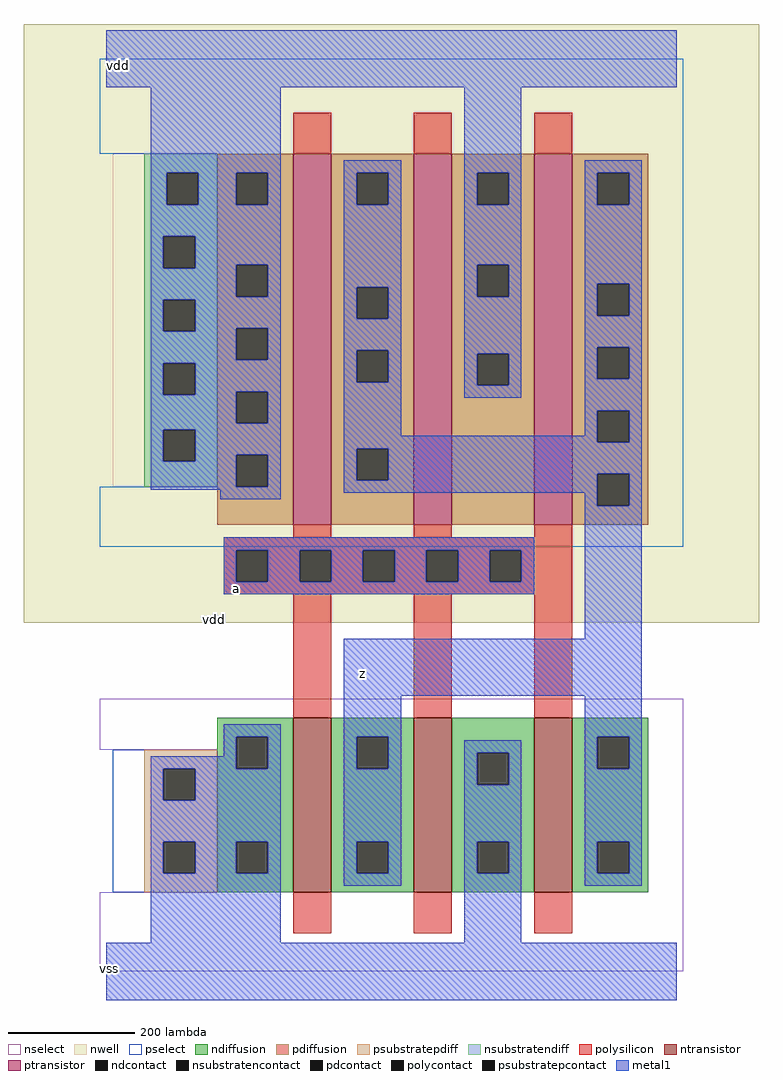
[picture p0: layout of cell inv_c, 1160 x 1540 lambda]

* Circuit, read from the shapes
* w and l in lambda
.subckt inv_c z a vdd vss
M1 z a vss vss nfet w=275 l=60 m=3
M2 z a vdd vdd pfet w=585 l=60 m=3
.ends

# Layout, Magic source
magic
tech amic5n
<< nwell >>
rect -130 550 1030 1495
<< ntransistor >>
rect 295 125 355 400
rect 485 125 545 400
rect 675 125 735 400
<< ptransistor >>
rect 295 705 355 1290
rect 485 705 545 1290
rect 675 705 735 1290
<< nselect >>
rect 10 765 175 1290
rect -10 350 910 430
rect 175 125 910 350
rect -10 0 910 125
<< pselect >>
rect -10 1290 910 1440
rect 175 765 910 1290
rect -10 670 910 765
rect 10 125 175 350
<< ndiffusion >>
rect 175 370 295 400
rect 175 320 205 370
rect 255 320 295 370
rect 175 205 295 320
rect 175 155 205 205
rect 255 155 295 205
rect 175 125 295 155
rect 355 370 485 400
rect 355 320 395 370
rect 445 320 485 370
rect 355 205 485 320
rect 355 155 395 205
rect 445 155 485 205
rect 355 125 485 155
rect 545 345 675 400
rect 545 295 585 345
rect 635 295 675 345
rect 545 205 675 295
rect 545 155 585 205
rect 635 155 675 205
rect 545 125 675 155
rect 735 370 855 400
rect 735 320 775 370
rect 825 320 855 370
rect 735 205 855 320
rect 735 155 775 205
rect 825 155 855 205
rect 735 125 855 155
<< pdiffusion >>
rect 175 1260 295 1290
rect 175 1210 205 1260
rect 255 1210 295 1260
rect 175 1115 295 1210
rect 175 1065 205 1115
rect 255 1065 295 1115
rect 175 1015 295 1065
rect 175 965 205 1015
rect 255 965 295 1015
rect 175 915 295 965
rect 175 865 205 915
rect 255 865 295 915
rect 175 815 295 865
rect 175 765 205 815
rect 255 765 295 815
rect 175 705 295 765
rect 355 1260 485 1290
rect 355 1210 395 1260
rect 445 1210 485 1260
rect 355 1080 485 1210
rect 355 1030 395 1080
rect 445 1030 485 1080
rect 355 980 485 1030
rect 355 930 395 980
rect 445 930 485 980
rect 355 825 485 930
rect 355 775 395 825
rect 445 775 485 825
rect 355 705 485 775
rect 545 1260 675 1290
rect 545 1210 585 1260
rect 635 1210 675 1260
rect 545 1115 675 1210
rect 545 1065 585 1115
rect 635 1065 675 1115
rect 545 975 675 1065
rect 545 925 585 975
rect 635 925 675 975
rect 545 705 675 925
rect 735 1260 855 1290
rect 735 1210 775 1260
rect 825 1210 855 1260
rect 735 1085 855 1210
rect 735 1035 775 1085
rect 825 1035 855 1085
rect 735 985 855 1035
rect 735 935 775 985
rect 825 935 855 985
rect 735 885 855 935
rect 735 835 775 885
rect 825 835 855 885
rect 735 785 855 835
rect 735 735 775 785
rect 825 735 855 785
rect 735 705 855 735
<< psubstratepdiff >>
rect 60 320 175 350
rect 60 270 90 320
rect 140 270 175 320
rect 60 205 175 270
rect 60 155 90 205
rect 140 155 175 205
rect 60 125 175 155
<< nsubstratendiff >>
rect 60 1260 175 1290
rect 60 1210 95 1260
rect 145 1210 175 1260
rect 60 1160 175 1210
rect 60 1110 90 1160
rect 140 1110 175 1160
rect 60 1060 175 1110
rect 60 1010 90 1060
rect 140 1010 175 1060
rect 60 960 175 1010
rect 60 910 90 960
rect 140 910 175 960
rect 60 855 175 910
rect 60 805 90 855
rect 140 805 175 855
rect 60 765 175 805
<< nsubstratencontact >>
rect 95 1210 145 1260
rect 90 1110 140 1160
rect 90 1010 140 1060
rect 90 910 140 960
rect 90 805 140 855
<< psubstratepcontact >>
rect 90 270 140 320
rect 90 155 140 205
<< ndcontact >>
rect 205 320 255 370
rect 205 155 255 205
rect 395 320 445 370
rect 395 155 445 205
rect 585 295 635 345
rect 585 155 635 205
rect 775 320 825 370
rect 775 155 825 205
<< pdcontact >>
rect 205 1210 255 1260
rect 205 1065 255 1115
rect 205 965 255 1015
rect 205 865 255 915
rect 205 765 255 815
rect 395 1210 445 1260
rect 395 1030 445 1080
rect 395 930 445 980
rect 395 775 445 825
rect 585 1210 635 1260
rect 585 1065 635 1115
rect 585 925 635 975
rect 775 1210 825 1260
rect 775 1035 825 1085
rect 775 935 825 985
rect 775 835 825 885
rect 775 735 825 785
<< polysilicon >>
rect 295 1290 355 1355
rect 485 1290 545 1355
rect 675 1290 735 1355
rect 295 685 355 705
rect 485 685 545 705
rect 675 685 735 705
rect 185 665 735 685
rect 185 615 205 665
rect 255 615 305 665
rect 355 615 405 665
rect 455 615 505 665
rect 555 615 605 665
rect 655 615 735 665
rect 185 595 735 615
rect 295 400 355 595
rect 485 400 545 595
rect 675 400 735 595
rect 295 60 355 125
rect 485 60 545 125
rect 675 60 735 125
<< polycontact >>
rect 205 615 255 665
rect 305 615 355 665
rect 405 615 455 665
rect 505 615 555 665
rect 605 615 655 665
<< metal1 >>
rect 0 1395 900 1485
rect 70 1260 275 1395
rect 70 1210 95 1260
rect 145 1210 205 1260
rect 255 1210 275 1260
rect 70 1160 275 1210
rect 70 1110 90 1160
rect 140 1115 275 1160
rect 140 1110 205 1115
rect 70 1065 205 1110
rect 255 1065 275 1115
rect 70 1060 275 1065
rect 70 1010 90 1060
rect 140 1015 275 1060
rect 140 1010 205 1015
rect 70 965 205 1010
rect 255 965 275 1015
rect 70 960 275 965
rect 70 910 90 960
rect 140 915 275 960
rect 140 910 205 915
rect 70 865 205 910
rect 255 865 275 915
rect 70 855 275 865
rect 70 805 90 855
rect 140 815 275 855
rect 140 805 205 815
rect 70 765 205 805
rect 255 765 275 815
rect 70 760 275 765
rect 180 745 275 760
rect 375 1260 465 1280
rect 375 1210 395 1260
rect 445 1210 465 1260
rect 375 1080 465 1210
rect 375 1030 395 1080
rect 445 1030 465 1080
rect 375 980 465 1030
rect 375 930 395 980
rect 445 930 465 980
rect 375 845 465 930
rect 565 1260 655 1395
rect 565 1210 585 1260
rect 635 1210 655 1260
rect 565 1115 655 1210
rect 565 1065 585 1115
rect 635 1065 655 1115
rect 565 975 655 1065
rect 565 925 585 975
rect 635 925 655 975
rect 565 905 655 925
rect 755 1260 845 1280
rect 755 1210 775 1260
rect 825 1210 845 1260
rect 755 1085 845 1210
rect 755 1035 775 1085
rect 825 1035 845 1085
rect 755 985 845 1035
rect 755 935 775 985
rect 825 935 845 985
rect 755 885 845 935
rect 755 845 775 885
rect 375 835 775 845
rect 825 835 845 885
rect 375 825 845 835
rect 375 775 395 825
rect 445 785 845 825
rect 445 775 775 785
rect 375 755 775 775
rect 755 735 775 755
rect 825 735 845 785
rect 185 665 675 685
rect 185 615 205 665
rect 255 615 305 665
rect 355 615 405 665
rect 455 615 505 665
rect 555 615 605 665
rect 655 615 675 665
rect 185 595 675 615
rect 755 525 845 735
rect 375 435 845 525
rect 185 370 275 390
rect 185 340 205 370
rect 70 320 205 340
rect 255 320 275 370
rect 70 270 90 320
rect 140 270 275 320
rect 70 205 275 270
rect 70 155 90 205
rect 140 155 205 205
rect 255 155 275 205
rect 70 45 275 155
rect 375 370 465 435
rect 375 320 395 370
rect 445 320 465 370
rect 755 370 845 435
rect 375 205 465 320
rect 375 155 395 205
rect 445 155 465 205
rect 375 135 465 155
rect 565 345 655 365
rect 565 295 585 345
rect 635 295 655 345
rect 565 205 655 295
rect 565 155 585 205
rect 635 155 655 205
rect 565 45 655 155
rect 755 320 775 370
rect 825 320 845 370
rect 755 205 845 320
rect 755 155 775 205
rect 825 155 845 205
rect 755 135 845 155
rect 0 -45 900 45
<< labels >>
flabel metal1 s 5 5 5 5 2 FreeSans 400 0 0 0 vss
port 3 ne
flabel metal1 s 20 1430 20 1430 2 FreeSans 400 0 0 0 vdd
port 2 ne
flabel nwell 170 555 170 555 2 FreeSans 400 0 0 0 vdd
flabel metal1 s 205 605 205 605 2 FreeSans 400 0 0 0 a
port 1 ne
flabel metal1 s 405 470 405 470 2 FreeSans 400 0 0 0 z
port 0 ne
<< properties >>
string FIXED_BBOX 0 0 900 1440
string LEFclass CORE
string LEFsite core
string LEFsymmetry X Y
<< end >>
